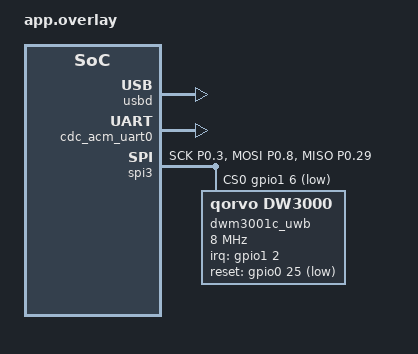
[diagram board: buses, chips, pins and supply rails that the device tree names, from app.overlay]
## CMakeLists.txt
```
cmake_minimum_required(VERSION 3.20.0)

set(DTC_OVERLAY_FILE ${CMAKE_CURRENT_SOURCE_DIR}/app.overlay)
set(DTS_ROOT
    ${CMAKE_CURRENT_SOURCE_DIR}
    ${CMAKE_CURRENT_SOURCE_DIR}/../uwb_chipid
)

find_package(Zephyr REQUIRED HINTS $ENV{ZEPHYR_BASE})
project(tof_initiator)

set(QORVO_DWT_PATH ${CMAKE_CURRENT_SOURCE_DIR}/../../DW3_QM33_SDK_1/Drivers/API/Shared/dwt_uwb_driver)

target_include_directories(app PRIVATE
  ${QORVO_DWT_PATH}
  ${CMAKE_CURRENT_SOURCE_DIR}/../uwb_chipid/src
)

target_sources(app PRIVATE
  src/main.c
  ${CMAKE_CURRENT_SOURCE_DIR}/../uwb_chipid/src/dw3000_port.c
  ${CMAKE_CURRENT_SOURCE_DIR}/../uwb_chipid/src/deca_probe_interface_zephyr.c
  ${CMAKE_CURRENT_SOURCE_DIR}/../uwb_chipid/src/deca_rsl_stub.c
)

target_sources(app PRIVATE
  ${QORVO_DWT_PATH}/deca_interface.c
  ${QORVO_DWT_PATH}/deca_compat.c
  ${QORVO_DWT_PATH}/dw3000/dw3000_device.c
)
```

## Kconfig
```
menu "TOF initiator options"

config TOF_RESP_EXPECT_DELAY_UUS
    int "Expected responder delay (UUS)"
    default 250
    range 100 2000
    help
      Expected delay between POLL transmission and RESP reception in
      UWB microseconds (UUS). This should match the responder's
      CONFIG_TOF_RESP_DELAY_UUS value for accurate range calculation.

config TOF_RESP_RX_TIMEOUT_UUS
    int "Response RX timeout (UUS)"
    default 1000
    range 100 10000
    help
      Receive timeout used while waiting for the responder's SSTWR
      response. Increase this if the responder delay is large.

config TOF_RANGING_PERIOD_MS
    int "Ranging period (ms)"
    default 200
    range 20 1000
    help
      Time in milliseconds between successive SSTWR polls emitted by
      the initiator.

endmenu

source "Kconfig.zephyr"
```

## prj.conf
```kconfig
# Console over USB CDC ACM
CONFIG_SERIAL=y
CONFIG_CONSOLE=y
CONFIG_PRINTK=y
CONFIG_UART_CONSOLE=y
CONFIG_UART_LINE_CTRL=y

# USB device stack + CDC ACM class
CONFIG_USB_DEVICE_STACK=y
CONFIG_USB_CDC_ACM=y

# Core drivers and utilities
CONFIG_SPI=y
CONFIG_GPIO=y
CONFIG_THREAD_NAME=y
CONFIG_ASSERT=y
CONFIG_HEAP_MEM_POOL_SIZE=4096
CONFIG_TOF_RESP_EXPECT_DELAY_UUS=1000
CONFIG_TOF_RESP_RX_TIMEOUT_UUS=10000

# Logging to RTT in addition to USB printk

#CONFIG_LOG=y
#CONFIG_LOG_MODE_IMMEDIATE=y
#CONFIG_LOG_BACKEND_RTT=y
#CONFIG_USE_SEGGER_RTT=y
#CONFIG_LOG_BACKEND_UART=n
#CONFIG_LOG_DEFAULT_LEVEL=3

# Allow optional button & LED helpers
CONFIG_GPIO_NRFX=y

# RTT console alongside USB console (for SEGGER host tools)
#CONFIG_RTT_CONSOLE=y
```

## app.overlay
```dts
/*
 * DWM3001CDK SSTWR initiator overlay
 */

/ {
    chosen {
        zephyr,console = &cdc_acm_uart0;
        zephyr,shell-uart = &cdc_acm_uart0;
    };
};

&usbd { status = "okay"; };

&zephyr_udc0 {
    cdc_acm_uart0: cdc_acm_uart0 {
        compatible = "zephyr,cdc-acm-uart";
        label = "CDC_ACM_0";
    };
};

&spi3 {
    status = "okay";
    pinctrl-0 = <&spi3_dwm_default>;
    pinctrl-1 = <&spi3_dwm_sleep>;
    pinctrl-names = "default", "sleep";
    cs-gpios = <&gpio1 6 GPIO_ACTIVE_LOW>;

    dwm3001c_uwb: dwm3001c_uwb@0 {
        compatible = "qorvo,dw3000";
        reg = <0>;
        spi-max-frequency = <8000000>;
        irq-gpios = <&gpio1 2 GPIO_ACTIVE_HIGH>;
        reset-gpios = <&gpio0 25 GPIO_ACTIVE_LOW>;
    };
};

&pinctrl {
    spi3_dwm_default: spi3_dwm_default {
        group1 {
            psels = <NRF_PSEL(SPIM_SCK, 0, 3)>,
                    <NRF_PSEL(SPIM_MOSI, 0, 8)>,
                    <NRF_PSEL(SPIM_MISO, 0, 29)>;
        };
    };

    spi3_dwm_sleep: spi3_dwm_sleep {
        group1 {
            psels = <NRF_PSEL(SPIM_SCK, 0, 3)>,
                    <NRF_PSEL(SPIM_MOSI, 0, 8)>,
                    <NRF_PSEL(SPIM_MISO, 0, 29)>;
            low-power-enable;
        };
    };
};
```

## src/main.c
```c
#include <zephyr/kernel.h>
#include <zephyr/device.h>
#include <zephyr/drivers/gpio.h>
#include <zephyr/drivers/uart.h>
#include <zephyr/logging/log.h>
#include <zephyr/sys/printk.h>
#include <zephyr/sys/atomic.h>
#include <zephyr/usb/usb_device.h>

#include <stdbool.h>
#include <string.h>

#include "deca_device_api.h"
#include "deca_probe_interface.h"

int dw_port_init(void);
void dw_port_reset_assert(void);
void dw_port_reset_deassert(void);

LOG_MODULE_REGISTER(tof_initiator, LOG_LEVEL_INF);

enum { TOF_MSG_POLL = 0x10, TOF_MSG_RESP = 0x11 };

struct __packed tof_msg_hdr {
    uint8_t type;
    uint8_t seq;
    uint8_t rsv0;
    uint8_t rsv1;
};

struct __packed tof_resp_payload {
    uint64_t resp_tx_ts;
    uint32_t reply_delay_dtu;
};

#define SPEED_OF_LIGHT       299702547.0
#define DWT_TIME_UNITS       (1.0 / (499.2e6 * 128.0))
#define UUS_TO_DWT_TIME      63898U

#define RESP_EXPECT_DLY_UUS  CONFIG_TOF_RESP_EXPECT_DELAY_UUS
#define RESP_EXPECT_DLY_DTU  ((uint64_t)RESP_EXPECT_DLY_UUS * UUS_TO_DWT_TIME)
#define RESP_RX_TIMEOUT_UUS  CONFIG_TOF_RESP_RX_TIMEOUT_UUS
#define RANGING_PERIOD_MS    CONFIG_TOF_RANGING_PERIOD_MS

#define UWB_NODE DT_NODELABEL(dwm3001c_uwb)
static const struct gpio_dt_spec uwb_irq = GPIO_DT_SPEC_GET(UWB_NODE, irq_gpios);

static struct k_sem sem_tx_done;
static struct k_sem sem_rx_done;
static struct k_sem sem_rx_to;
static struct k_sem sem_rx_err;

static uint8_t rx_buf[128];
static uint16_t rx_len;
static uint64_t last_rx_ts;
static uint64_t last_tx_ts;

static inline uint64_t ts5_to_u64(const uint8_t ts[5])
{
    return ((uint64_t)ts[4] << 32) | ((uint64_t)ts[3] << 24) |
           ((uint64_t)ts[2] << 16) | ((uint64_t)ts[1] << 8) | (uint64_t)ts[0];
}

static uint64_t get_rx_timestamp_u64(void)
{
    uint8_t ts[5] = {0};
    dwt_readrxtimestamp(ts, DWT_COMPAT_NONE);
    return ts5_to_u64(ts);
}

static uint64_t get_tx_timestamp_u64(void)
{
    uint8_t ts[5] = {0};
    dwt_readtxtimestamp(ts);
    return ts5_to_u64(ts);
}

static const struct device *cdc_dev;
static volatile bool running = true;

static void poll_console_keys(void)
{
    if (!cdc_dev || !device_is_ready(cdc_dev)) {
        return;
    }

    unsigned char c;
    for (int i = 0; i < 8; ++i) {
        if (uart_poll_in(cdc_dev, &c) != 0) {
            break;
        }
        if (c == 's' || c == 'S') {
            running = !running;
            printk("[console] %s\n", running ? "start" : "pause");
        }
    }
}

static void usb_ready_wait(void)
{
    (void)usb_enable(NULL);

    cdc_dev = DEVICE_DT_GET(DT_NODELABEL(cdc_acm_uart0));
    for (int i = 0; i < 20 && !device_is_ready(cdc_dev); ++i) {
        k_msleep(100);
    }

    if (!cdc_dev || !device_is_ready(cdc_dev)) {
        return;
    }

    uint32_t dtr = 0;
    while (true) {
        (void)uart_line_ctrl_get(cdc_dev, UART_LINE_CTRL_DTR, &dtr);
        if (dtr) {
            break;
        }
        /* Keep USB alive while we wait for a host to open the port */
        k_msleep(50);
    }
    k_msleep(50);
}

static struct gpio_callback irq_cb;
static struct k_work uwb_isr_work;
static atomic_t uwb_isr_pending;

static void uwb_isr_work_handler(struct k_work *work)
{
    ARG_UNUSED(work);
    atomic_clear(&uwb_isr_pending);
    dwt_isr();
}

static void uwb_irq_handler(const struct device *dev, struct gpio_callback *cb, uint32_t pins)
{
    ARG_UNUSED(dev);
    ARG_UNUSED(cb);
    ARG_UNUSED(pins);
    if (atomic_cas(&uwb_isr_pending, 0, 1)) {
        k_work_submit(&uwb_isr_work);
    }
}

static int irq_setup(void)
{
    if (!device_is_ready(uwb_irq.port)) {
        return -ENODEV;
    }
    int ret = gpio_pin_configure_dt(&uwb_irq, GPIO_INPUT);
    if (ret) {
        return ret;
    }
    ret = gpio_pin_interrupt_configure_dt(&uwb_irq, GPIO_INT_EDGE_TO_ACTIVE);
    if (ret) {
        return ret;
    }
    gpio_init_callback(&irq_cb, uwb_irq_handler, BIT(uwb_irq.pin));
    gpio_add_callback(uwb_irq.port, &irq_cb);
    return 0;
}

static void on_tx_done(const dwt_cb_data_t *cb)
{
    ARG_UNUSED(cb);
    last_tx_ts = get_tx_timestamp_u64();
    k_sem_give(&sem_tx_done);
}

static void on_rx_ok(const dwt_cb_data_t *cb)
{
    rx_len = cb->datalength;
    if (rx_len > sizeof(rx_buf)) {
        rx_len = sizeof(rx_buf);
    }
    dwt_readrxdata(rx_buf, rx_len, 0);
    last_rx_ts = get_rx_timestamp_u64();
    k_sem_give(&sem_rx_done);
}

static void on_rx_to(const dwt_cb_data_t *cb)
{
    ARG_UNUSED(cb);
    k_sem_give(&sem_rx_to);
}

static void on_rx_err(const dwt_cb_data_t *cb)
{
    ARG_UNUSED(cb);
    k_sem_give(&sem_rx_err);
}

static int dw3110_radio_init(void)
{
    printk("dw3110_radio_init: assert reset\n");
    dw_port_reset_assert();
    k_msleep(2);
    printk("dw3110_radio_init: deassert reset\n");
    dw_port_reset_deassert();
    k_msleep(5);

    printk("dw3110_radio_init: dwt_probe\n");
    if (dwt_probe((struct dwt_probe_s *)&dw3000_probe_interf) < 0) {
        printk("dw3110_radio_init: dwt_probe failed\n");
        return -EIO;
    }
    printk("dw3110_radio_init: probe ok\n");
    while (!dwt_checkidlerc()) {
        printk("dw3110_radio_init: waiting for IDLE_RC\n");
        k_busy_wait(50);
    }
    printk("dw3110_radio_init: IDLE_RC ready\n");
    if (dwt_initialise(DWT_READ_OTP_ALL) != DWT_SUCCESS) {
        printk("dw3110_radio_init: dwt_initialise failed\n");
        return -EIO;
    }
    printk("dw3110_radio_init: dwt_initialise ok\n");

    dwt_config_t cfg = {
        .chan = 9,
        .txPreambLength = DWT_PLEN_64,
        .rxPAC = DWT_PAC8,
        .txCode = 9,
        .rxCode = 9,
        .sfdType = DWT_SFD_IEEE_4A,
        .dataRate = DWT_BR_6M8,
        .phrMode = DWT_PHRMODE_STD,
        .phrRate = DWT_PHRRATE_STD,
        .sfdTO = DWT_SFDTOC_DEF,
        .stsMode = DWT_STS_MODE_OFF,
        .stsLength = DWT_STS_LEN_32,
        .pdoaMode = DWT_PDOA_M0,
    };
    printk("dw3110_radio_init: configuring radio\n");
    if (dwt_configure(&cfg) != DWT_SUCCESS) {
        printk("dw3110_radio_init: dwt_configure failed\n");
        return -EIO;
    }
    printk("dw3110_radio_init: configure ok\n");

    printk("dw3110_radio_init: disable frame filter\n");
    dwt_configureframefilter(DWT_FF_DISABLE, 0);
    printk("dw3110_radio_init: frame filter disabled\n");
    printk("dw3110_radio_init: enable LNA/PA\n");
    dwt_setlnapamode(DWT_LNA_ENABLE | DWT_PA_ENABLE);
    printk("dw3110_radio_init: LNA/PA enabled\n");

    printk("dw3110_radio_init: set interrupts\n");
    dwt_setinterrupt(DWT_INT_TXFRS_BIT_MASK |
                         DWT_INT_RXFCG_BIT_MASK |
                         DWT_INT_RXFTO_BIT_MASK |
                         DWT_INT_RXPTO_BIT_MASK,
                     0, DWT_ENABLE_INT);
    printk("dw3110_radio_init: interrupts configured\n");

    dwt_callbacks_s cbs = {0};
    cbs.cbTxDone = on_tx_done;
    cbs.cbRxOk = on_rx_ok;
    cbs.cbRxTo = on_rx_to;
    cbs.cbRxErr = on_rx_err;
    dwt_setcallbacks(&cbs);
    printk("dw3110_radio_init: callbacks registered\n");
    printk("dw3110_radio_init: callbacks registered\n");

    return 0;
}

static void publish_range(uint8_t seq, uint64_t t_tx_poll, uint64_t t_rx_resp,
                          uint64_t reply_delay_dtu, int32_t range_mm)
{
    int32_t mm = range_mm >= 0 ? range_mm : -1;
    if (mm >= 0) {
        int32_t whole = mm / 1000;
        int32_t frac = mm % 1000;
        printk("INIT: seq=%u range=%d.%03d m (Tr=%u DTU)\n",
               seq, whole, frac, (uint32_t)reply_delay_dtu);
        LOG_INF("seq=%u range=%d.%03d m (Tr=%u DTU)", seq, whole, frac, (uint32_t)reply_delay_dtu);
    } else {
        printk("INIT: seq=%u no range\n", seq);
        LOG_WRN("seq=%u no range", seq);
    }

    LOG_DBG("timestamps tx=%llu rx=%llu", t_tx_poll, t_rx_resp);
}

static int32_t compute_range_mm(uint64_t t_tx_poll, uint64_t t_rx_resp, uint64_t reply_delay_dtu)
{
    if (t_rx_resp <= t_tx_poll) {
        return -1;
    }
    double T_round = (double)(t_rx_resp - t_tx_poll);
    double T_reply = (double)reply_delay_dtu;
    double tof_dtu = (T_round - T_reply) * 0.5;
    if (tof_dtu <= 0.0) {
        return -1;
    }
    double tof_s = tof_dtu * DWT_TIME_UNITS;
    double range_m = tof_s * SPEED_OF_LIGHT;
    int32_t range_mm = (int32_t)(range_m * 1000.0 + 0.5);
    return range_mm;
}

void main(void)
{   
    k_msleep(3000);
    usb_ready_wait();
    k_msleep(3000);
    printk("\n[DWM3001CDK] SSTWR initiator starting\n");
    LOG_INF("Initiator boot");
    if (cdc_dev && device_is_ready(cdc_dev)) {
        printk("Press 's' to toggle start/pause\n");
    }

    k_sem_init(&sem_tx_done, 0, 1);
    k_sem_init(&sem_rx_done, 0, 1);
    k_sem_init(&sem_rx_to, 0, 1);
    k_sem_init(&sem_rx_err, 0, 1);
    k_work_init(&uwb_isr_work, uwb_isr_work_handler);
    atomic_clear(&uwb_isr_pending);

    if (dw_port_init()) {
        printk("DW port init failed\n");
        LOG_ERR("dw_port_init failed");
        return;
    }
    if (irq_setup()) {
        printk("IRQ setup failed\n");
        LOG_ERR("irq_setup failed");
        return;
    }
    if (dw3110_radio_init()) {
        printk("DW3000 init failed\n");
        LOG_ERR("dw3110_radio_init failed");
        return;
    }

    printk("After init\n");

    dwt_setrxaftertxdelay(RESP_EXPECT_DLY_UUS);
    dwt_setrxtimeout(RESP_RX_TIMEOUT_UUS);
    dwt_setpreambledetecttimeout(8);

    uint8_t seq = 0;
    uint32_t success = 0;
    uint32_t missed = 0;
    bool loop_started = false;
    bool trace_once = true;

    while (1) {
        if (!loop_started) {
            printk("INIT: loop running\n");
            loop_started = true;
        }
        poll_console_keys();
        if (!running) {
            k_msleep(50);
            continue;
        }
        struct tof_msg_hdr poll = {
            .type = TOF_MSG_POLL,
            .seq = seq,
        };
        if (trace_once) {
            printk("INIT: tx stage=write data\n");
        }
        int tx_data_ret = dwt_writetxdata(sizeof(poll), (uint8_t *)&poll, 0);
        if (trace_once) {
            printk("INIT: tx stage=write data ret=%d\n", tx_data_ret);
        }
        if (tx_data_ret != DWT_SUCCESS) {
            missed++;
            printk("INIT: seq=%u writetxdata failed (success=%u missed=%u)\n",
                   seq, success, missed);
            LOG_ERR("writetxdata failed seq=%u (succ=%u miss=%u)", seq, success, missed);
            dwt_forcetrxoff();
            seq++;
            k_msleep(RANGING_PERIOD_MS);
            continue;
        }

        if (trace_once) {
            printk("INIT: tx stage=write fctrl\n");
        }
        dwt_writetxfctrl(sizeof(poll), 0, 1);
        if (trace_once) {
            printk("INIT: tx stage=starttx\n");
        }
        int tx_ret = dwt_starttx(DWT_START_TX_IMMEDIATE | DWT_RESPONSE_EXPECTED);
        if (trace_once) {
            printk("INIT: tx stage=starttx ret=%d\n", tx_ret);
            trace_once = false;
        }
        if (tx_ret != DWT_SUCCESS) {
            missed++;
            printk("INIT: seq=%u starttx failed (success=%u missed=%u)\n", seq, success, missed);
            LOG_ERR("starttx failed seq=%u (succ=%u miss=%u)", seq, success, missed);
            dwt_forcetrxoff();
            seq++;
            k_msleep(RANGING_PERIOD_MS);
            continue;
        }
        
        int tx_success = (k_sem_take(&sem_tx_done, K_MSEC(5)) == 0);
        if (!tx_success) {
            missed++;
            printk("INIT: seq=%u TX timeout (success=%u missed=%u)\n", seq, success, missed);
            LOG_WRN("TX timeout seq=%u (succ=%u miss=%u)", seq, success, missed);
            seq++;
            k_msleep(RANGING_PERIOD_MS);
            continue;
        }
        uint64_t t_tx_poll = last_tx_ts;

        int got_resp = 0;
        struct tof_resp_payload payload = {0};
        uint64_t t_rx_resp = 0;

        if (k_sem_take(&sem_rx_done, K_MSEC(20)) == 0) {
            if (rx_len >= sizeof(struct tof_msg_hdr) + sizeof(struct tof_resp_payload)) {
                struct tof_msg_hdr *hdr = (struct tof_msg_hdr *)rx_buf;
                if (hdr->type == TOF_MSG_RESP && hdr->seq == seq) {
                    memcpy(&payload, rx_buf + sizeof(struct tof_msg_hdr), sizeof(payload));
                    t_rx_resp = last_rx_ts;
                    got_resp = 1;
                }
            }
        } else {
            (void)k_sem_take(&sem_rx_to, K_NO_WAIT);
            (void)k_sem_take(&sem_rx_err, K_NO_WAIT);
        }

        int32_t range_mm = -1;
        if (got_resp) {
            uint64_t reply_dtu = payload.reply_delay_dtu ? payload.reply_delay_dtu : RESP_EXPECT_DLY_DTU;
            range_mm = compute_range_mm(t_tx_poll, t_rx_resp, reply_dtu);
            publish_range(seq, t_tx_poll, t_rx_resp, reply_dtu, range_mm);
            success++;
        } else {
            missed++;
            printk("INIT: seq=%u timeout (success=%u missed=%u)\n", seq, success, missed);
            LOG_WRN("timeout seq=%u (succ=%u miss=%u)", seq, success, missed);
        }

        seq++;
        poll_console_keys();
        k_msleep(RANGING_PERIOD_MS);
    }
}
```
